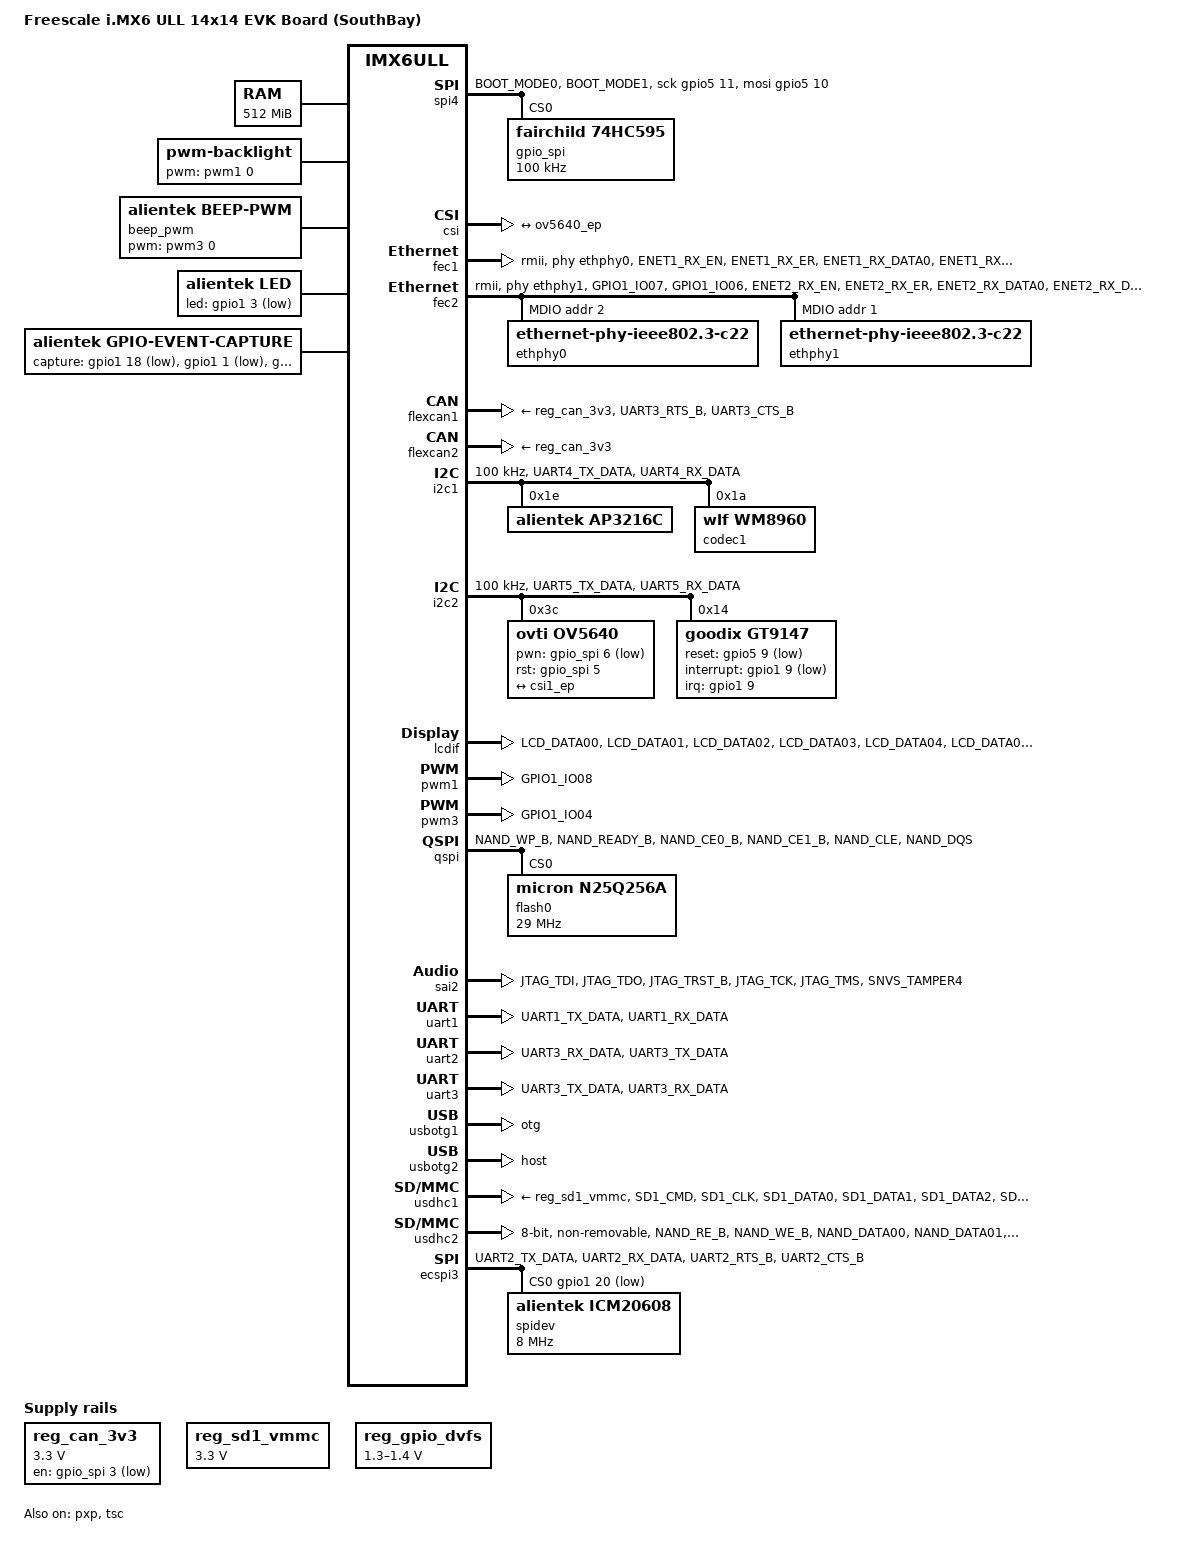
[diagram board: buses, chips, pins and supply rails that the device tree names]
// SPDX-License-Identifier: GPL-2.0
/*
 * imx6ull-southbay-emmc.dts
 *
 * 基于正点原子 alientek-emmc 参考板 DTS 定制。
 * 本文件为本项目（imx6ull-drivers，P1-P6）的唯一设备树，
 * 各阶段驱动节点集中于此：led/beep_pwm/key_event/key_input/gpio_event_capture/ap3216c/icm20608。
 *
 * Build:
 *   make KDIR=<kernel> ARCH=arm CROSS_COMPILE=arm-linux-gnueabihf- imx6ull-southbay-emmc.dtb
 */

/dts-v1/;

#include <dt-bindings/input/input.h>
#include "imx6ull.dtsi"

/ {
	model = "Freescale i.MX6 ULL 14x14 EVK Board (SouthBay)";
	compatible = "fsl,imx6ull-14x14-evk", "fsl,imx6ull";

	chosen {
		stdout-path = &uart1;
	};

	memory {
		reg = <0x80000000 0x20000000>;
	};

	reserved-memory {
		#address-cells = <1>;
		#size-cells = <1>;
		ranges;

		linux,cma {
			compatible = "shared-dma-pool";
			reusable;
			size = <0x14000000>;
			linux,cma-default;
		};
	};

	backlight {
		compatible = "pwm-backlight";
		pwms = <&pwm1 0 5000000>;
		brightness-levels = <0 4 8 16 32 64 128 255>;
		default-brightness-level = <6>;
		status = "okay";
	};

	/* P4-B：PWM 蜂鸣器（外接无源蜂鸣器 → GPIO1_IO04/PWM3_OUT，官方引脚）
	 * period = 1ms = 1kHz，频率由 beep_pwm 驱动 ioctl 动态调整 */
	beep_pwm {
		compatible = "alientek,beep-pwm";
		pwms = <&pwm3 0 1000000>;
		status = "okay";
	};

	pxp_v4l2 {
		compatible = "fsl,imx6ul-pxp-v4l2", "fsl,imx6sx-pxp-v4l2", "fsl,imx6sl-pxp-v4l2";
		status = "okay";
	};

	regulators {
		compatible = "simple-bus";
		#address-cells = <1>;
		#size-cells = <0>;

		reg_can_3v3: regulator@0 {
			compatible = "regulator-fixed";
			reg = <0>;
			regulator-name = "can-3v3";
			regulator-min-microvolt = <3300000>;
			regulator-max-microvolt = <3300000>;
			gpios = <&gpio_spi 3 GPIO_ACTIVE_LOW>;
		};

		reg_sd1_vmmc: regulator@1 {
			compatible = "regulator-fixed";
			regulator-name = "VSD_3V3";
			regulator-min-microvolt = <3300000>;
			regulator-max-microvolt = <3300000>;
			enable-active-high;
		};

		reg_gpio_dvfs: regulator-gpio {
			compatible = "regulator-gpio";
			pinctrl-names = "default";
			pinctrl-0 = <&pinctrl_dvfs>;
			regulator-min-microvolt = <1300000>;
			regulator-max-microvolt = <1400000>;
			regulator-name = "gpio_dvfs";
			regulator-type = "voltage";
			gpios = <&gpio5 3 GPIO_ACTIVE_HIGH>;
			states = <1300000 0x1 1400000 0x0>;
		};
	};

	sound {
		compatible = "fsl,imx6ul-evk-wm8960",
			   "fsl,imx-audio-wm8960";
		model = "wm8960-audio";
		cpu-dai = <&sai2>;
		audio-codec = <&codec1>;
		asrc-controller = <&asrc>;
		codec-master;
		gpr = <&gpr 4 0x100000 0x100000>;
		hp-det = <3 0>;
		audio-routing =
			"Headphone Jack", "HP_L",
			"Headphone Jack", "HP_R",
			"Ext Spk", "SPK_LP",
			"Ext Spk", "SPK_LN",
			"Ext Spk", "SPK_RP",
			"Ext Spk", "SPK_RN",
			"LINPUT2", "Mic Jack",
			"LINPUT3", "Mic Jack",
			"RINPUT1", "Main MIC",
			"RINPUT2", "Main MIC",
			"Mic Jack", "MICB",
			"Main MIC", "MICB",
			"CPU-Playback", "ASRC-Playback",
			"Playback", "CPU-Playback",
			"ASRC-Capture", "CPU-Capture",
			"CPU-Capture", "Capture";
	};

	spi4 {
		compatible = "spi-gpio";
		pinctrl-names = "default";
		pinctrl-0 = <&pinctrl_spi4>;
		status = "okay";
		gpio-sck = <&gpio5 11 0>;
		gpio-mosi = <&gpio5 10 0>;
		num-chipselects = <1>;
		#address-cells = <1>;
		#size-cells = <0>;

		gpio_spi: gpio_spi@0 {
			compatible = "fairchild,74hc595";
			gpio-controller;
			#gpio-cells = <2>;
			reg = <0>;
			registers-number = <1>;
			registers-default = /bits/ 8 <0x57>;
			spi-max-frequency = <100000>;
		};
	};

	/* LED 驱动（P1，手册 5.10）：LED0 红灯 GPIO1_IO03，低电平点亮 */
	led {
		compatible = "alientek,led";
		pinctrl-names = "default";
		pinctrl-0 = <&pinctrl_led>;
		led-gpios = <&gpio1 3 GPIO_ACTIVE_LOW>;	/* LED0 红灯，低电平点亮 */
		status = "okay";
	};

	/* ======== P2 按键事件驱动 ========
	   key-event / key-input / gpio-event-capture 共用 pinctrl_key 与
	   GPIO1_IO18（KEY0），三者互斥（详见各节点注释） */
	key-event {
		compatible = "alientek,key-event";
		pinctrl-names = "default";
		pinctrl-0 = <&pinctrl_key>;
		key-gpios = <&gpio1 18 GPIO_ACTIVE_LOW>;   /* KEY0 */
		status = "disabled";   /* P3: 与 gpio_event_capture 共用 GPIO1_IO18，禁用避免冲突 */
	};

/* ======== P6 input 子系统按键驱动（手册 5.15.1）========
	   与 gpio-event-capture / key-event 共用 GPIO1_IO18（KEY0），
	   三者互斥：运行时只能加载其一（GPIO 已被占用时 probe 失败）。
	   验证 input 时：dts 将本节点改 okay + gpio-event-capture 改 disabled，
	   重编 dtb 后加载 key_input.ko；或运行时先 rmmod gpio_event_capture。
	   key_code=227(KEY_ARMED)，可用 evtest / key_input_test 读取事件流 */
	key-input {
		compatible = "alientek,key-input";
		pinctrl-names = "default";
		pinctrl-0 = <&pinctrl_key>;
		key-gpios = <&gpio1 18 GPIO_ACTIVE_LOW>;   /* KEY0 */
		linux,code = <227>;                        /* KEY_ARMED */
		status = "disabled";   /* P6-2: 与 gpio-event-capture 互斥，板验 8 通道时禁用 */
	};

	/* ======== P3/P6-2 gpio_event 多通道事件采集 ========
	   通道 0 = KEY0（GPIO1_IO18），复用 pinctrl_key；
	   通道 1 = GPIO1_IO01（JP6 pin17 "GPIO_01"），复用 pinctrl_capture1；
	   通道 2 = GPIO1_IO00（JP6 GPIO_00），复用 pinctrl_capture0；
	   通道 3 = GPIO1_IO02（JP6 GPIO_02），复用 pinctrl_capture2；
	   ★按需采集原则：仅配置无冲突通道（IO18/IO01/IO00/IO02），
	   触摸屏(gt9147)/LED/PWM 等外设功能全部保留（其引脚不再用作采集通道）。
	   PulseView 仍显示 8 通道，未配置通道（4-7）为恒低平线。
	   与 key-input / key-event 互斥：共用 GPIO1_IO18，dts 仅允许其一为 okay。 */
	gpio-event-capture {
		compatible = "alientek,gpio-event-capture";
		pinctrl-names = "default";
		pinctrl-0 = <&pinctrl_key &pinctrl_capture1
			     &pinctrl_capture0 &pinctrl_capture2>;
		capture-gpios = <&gpio1 18 GPIO_ACTIVE_LOW>,   /* 通道0：KEY0 */
				<&gpio1  1 GPIO_ACTIVE_LOW>,  /* 通道1：GPIO1_IO01 (JP6 pin17) */
				<&gpio1  0 GPIO_ACTIVE_LOW>,  /* 通道2：GPIO1_IO00 (JP6 GPIO_00) */
				<&gpio1  2 GPIO_ACTIVE_LOW>;  /* 通道3：GPIO1_IO02 (JP6 GPIO_02) */
		fifo-depth-events = <1024>;                    /* 2 的幂校验 */
		status = "okay";
	};
};

&cpu0 {
	arm-supply = <&reg_arm>;
	soc-supply = <&reg_soc>;
	dc-supply = <&reg_gpio_dvfs>;
};

&clks {
	assigned-clocks = <&clks IMX6UL_CLK_PLL4_AUDIO_DIV>;
	assigned-clock-rates = <786432000>;
};

&csi {
	status = "okay";

	port {
		csi1_ep: endpoint {
			remote-endpoint = <&ov5640_ep>;
		};
	};
};

&fec1 {
	pinctrl-names = "default";
	pinctrl-0 = <&pinctrl_enet1
		     &pinctrl_enet1_reset>;
	phy-mode = "rmii";
	phy-handle = <&ethphy0>;
	phy-reset-gpios = <&gpio5 7 GPIO_ACTIVE_LOW>;
	phy-reset-duration = <200>;
	status = "okay";
};

&fec2 {
	pinctrl-names = "default";
	pinctrl-0 = <&pinctrl_enet2>;
	phy-mode = "rmii";
	phy-handle = <&ethphy1>;
	status = "okay";

	mdio {
		#address-cells = <1>;
		#size-cells = <0>;

		ethphy0: ethernet-phy@2 {
			compatible = "ethernet-phy-ieee802.3-c22";
			reg = <2>;
		};

		ethphy1: ethernet-phy@1 {
			compatible = "ethernet-phy-ieee802.3-c22";
			reg = <1>;
		};
	};
};

&flexcan1 {
	pinctrl-names = "default";
	pinctrl-0 = <&pinctrl_flexcan1>;
	xceiver-supply = <&reg_can_3v3>;
	status = "okay";
};

&flexcan2 {
	pinctrl-names = "default";
	pinctrl-0 = <&pinctrl_flexcan2>;
	xceiver-supply = <&reg_can_3v3>;
	status = "okay";
};

&gpc {
	fsl,cpu_pupscr_sw2iso = <0x1>;
	fsl,cpu_pupscr_sw = <0x0>;
	fsl,cpu_pdnscr_iso2sw = <0x1>;
	fsl,cpu_pdnscr_iso = <0x1>;
	fsl,ldo-bypass = <0>;
};

&i2c1 {
	clock-frequency = <100000>;
	pinctrl-names = "default";
	pinctrl-0 = <&pinctrl_i2c1>;
	status = "okay";

	/* AP3216C proximity & ambient light sensor */
	ap3216c@1e {
		compatible = "alientek,ap3216c";
		reg = <0x1e>;
	};

	codec1: wm8960@1a {
		compatible = "wlf,wm8960";
		reg = <0x1a>;
		clocks = <&clks IMX6UL_CLK_SAI2>;
		clock-names = "mclk";
		wlf,shared-lrclk;
	};
};

&i2c2 {
	clock-frequency = <100000>;
	pinctrl-names = "default";
	pinctrl-0 = <&pinctrl_i2c2>;
	status = "okay";

	ov5640: ov5640@3c {
		compatible = "ovti,ov5640";
		reg = <0x3c>;
		pinctrl-names = "default";
		pinctrl-0 = <&pinctrl_csi1>;
		clocks = <&clks IMX6UL_CLK_CSI>;
		clock-names = "csi_mclk";
		pwn-gpios = <&gpio_spi 6 1>;
		rst-gpios = <&gpio_spi 5 0>;
		csi_id = <0>;
		mclk = <24000000>;
		mclk_source = <0>;
		status = "okay";
		port {
			ov5640_ep: endpoint {
				remote-endpoint = <&csi1_ep>;
			};
		};
	};

	/* 触摸屏 GT911/GT9147（教程 64.8 规范节点，配套 23_multitouch/gt9147.c；
	 * 地址 0x14、引脚/属性/时序全部对齐教程；分辨率 1024x600 由驱动
	 * 内嵌官方配置下发——本板芯片出厂配置区为空） */
	gt9147: gt9147@14 {
		compatible = "goodix,gt9147", "goodix,gt9xx";
		reg = <0x14>;
		pinctrl-names = "default";
		pinctrl-0 = <&pinctrl_tsc
			     &pinctrl_tsc_reset>;
		interrupt-parent = <&gpio1>;
		interrupts = <9 0>;
		reset-gpios = <&gpio5 9 GPIO_ACTIVE_LOW>;
		interrupt-gpios = <&gpio1 9 GPIO_ACTIVE_LOW>;
		status = "okay";
	};
};

&iomuxc {
	pinctrl-names = "default";
	pinctrl-0 = <&pinctrl_hog_1>;
	imx6ul-evk {
		pinctrl_hog_1: hoggrp-1 {
			fsl,pins = <
				MX6UL_PAD_UART1_RTS_B__GPIO1_IO19	0x17059
				MX6UL_PAD_GPIO1_IO05__USDHC1_VSELECT	0x17059
			>;
		};

		pinctrl_csi1: csi1grp {
			fsl,pins = <
				MX6UL_PAD_CSI_MCLK__CSI_MCLK		0x1b088
				MX6UL_PAD_CSI_PIXCLK__CSI_PIXCLK	0x1b088
				MX6UL_PAD_CSI_VSYNC__CSI_VSYNC		0x1b088
				MX6UL_PAD_CSI_HSYNC__CSI_HSYNC		0x1b088
				MX6UL_PAD_CSI_DATA00__CSI_DATA02	0x1b088
				MX6UL_PAD_CSI_DATA01__CSI_DATA03	0x1b088
				MX6UL_PAD_CSI_DATA02__CSI_DATA04	0x1b088
				MX6UL_PAD_CSI_DATA03__CSI_DATA05	0x1b088
				MX6UL_PAD_CSI_DATA04__CSI_DATA06	0x1b088
				MX6UL_PAD_CSI_DATA05__CSI_DATA07	0x1b088
				MX6UL_PAD_CSI_DATA06__CSI_DATA08	0x1b088
				MX6UL_PAD_CSI_DATA07__CSI_DATA09	0x1b088
			>;
		};

		pinctrl_enet1: enet1grp {
			fsl,pins = <
				MX6UL_PAD_ENET1_RX_EN__ENET1_RX_EN	0x1b0b0
				MX6UL_PAD_ENET1_RX_ER__ENET1_RX_ER	0x1b0b0
				MX6UL_PAD_ENET1_RX_DATA0__ENET1_RDATA00	0x1b0b0
				MX6UL_PAD_ENET1_RX_DATA1__ENET1_RDATA01	0x1b0b0
				MX6UL_PAD_ENET1_TX_EN__ENET1_TX_EN	0x1b0b0
				MX6UL_PAD_ENET1_TX_DATA0__ENET1_TDATA00	0x1b0b0
				MX6UL_PAD_ENET1_TX_DATA1__ENET1_TDATA01	0x1b0b0
				MX6UL_PAD_ENET1_TX_CLK__ENET1_REF_CLK1	0x4001b031
				MX6UL_PAD_SNVS_TAMPER7__GPIO5_IO07	0x10B0
			>;
		};

		pinctrl_enet2: enet2grp {
			fsl,pins = <
				MX6UL_PAD_GPIO1_IO07__ENET2_MDC		0x1b0b0
				MX6UL_PAD_GPIO1_IO06__ENET2_MDIO	0x1b0b0
				MX6UL_PAD_ENET2_RX_EN__ENET2_RX_EN	0x1b0b0
				MX6UL_PAD_ENET2_RX_ER__ENET2_RX_ER	0x1b0b0
				MX6UL_PAD_ENET2_RX_DATA0__ENET2_RDATA00	0x1b0b0
				MX6UL_PAD_ENET2_RX_DATA1__ENET2_RDATA01	0x1b0b0
				MX6UL_PAD_ENET2_TX_EN__ENET2_TX_EN	0x1b0b0
				MX6UL_PAD_ENET2_TX_DATA0__ENET2_TDATA00	0x1b0b0
				MX6UL_PAD_ENET2_TX_DATA1__ENET2_TDATA01	0x1b0b0
				MX6UL_PAD_ENET2_TX_CLK__ENET2_REF_CLK2	0x4001b031
				MX6UL_PAD_SNVS_TAMPER8__GPIO5_IO08	0x10B0
			>;
		};

		pinctrl_flexcan1: flexcan1grp {
			fsl,pins = <
				MX6UL_PAD_UART3_RTS_B__FLEXCAN1_RX	0x1b020
				MX6UL_PAD_UART3_CTS_B__FLEXCAN1_TX	0x1b020
			>;
		};

		pinctrl_flexcan2: flexcan2grp {
			fsl,pins = <
			>;
		};

		pinctrl_i2c1: i2c1grp {
			fsl,pins = <
				MX6UL_PAD_UART4_TX_DATA__I2C1_SCL 0x4001b8b0
				MX6UL_PAD_UART4_RX_DATA__I2C1_SDA 0x4001b8b0
			>;
		};

		pinctrl_i2c2: i2c2grp {
			fsl,pins = <
				MX6UL_PAD_UART5_TX_DATA__I2C2_SCL 0x4001b8b0
				MX6UL_PAD_UART5_RX_DATA__I2C2_SDA 0x4001b8b0
			>;
		};

		pinctrl_lcdif_dat: lcdifdatgrp {
			fsl,pins = <
				MX6UL_PAD_LCD_DATA00__LCDIF_DATA00  0x49
				MX6UL_PAD_LCD_DATA01__LCDIF_DATA01  0x49
				MX6UL_PAD_LCD_DATA02__LCDIF_DATA02  0x49
				MX6UL_PAD_LCD_DATA03__LCDIF_DATA03  0x49
				MX6UL_PAD_LCD_DATA04__LCDIF_DATA04  0x49
				MX6UL_PAD_LCD_DATA05__LCDIF_DATA05  0x49
				MX6UL_PAD_LCD_DATA06__LCDIF_DATA06  0x49
				MX6UL_PAD_LCD_DATA07__LCDIF_DATA07  0x49
				MX6UL_PAD_LCD_DATA08__LCDIF_DATA08  0x49
				MX6UL_PAD_LCD_DATA09__LCDIF_DATA09  0x49
				MX6UL_PAD_LCD_DATA10__LCDIF_DATA10  0x49
				MX6UL_PAD_LCD_DATA11__LCDIF_DATA11  0x49
				MX6UL_PAD_LCD_DATA12__LCDIF_DATA12  0x49
				MX6UL_PAD_LCD_DATA13__LCDIF_DATA13  0x49
				MX6UL_PAD_LCD_DATA14__LCDIF_DATA14  0x49
				MX6UL_PAD_LCD_DATA15__LCDIF_DATA15  0x49
				MX6UL_PAD_LCD_DATA16__LCDIF_DATA16  0x49
				MX6UL_PAD_LCD_DATA17__LCDIF_DATA17  0x49
				MX6UL_PAD_LCD_DATA18__LCDIF_DATA18  0x49
				MX6UL_PAD_LCD_DATA19__LCDIF_DATA19  0x49
				MX6UL_PAD_LCD_DATA20__LCDIF_DATA20  0x49
				MX6UL_PAD_LCD_DATA21__LCDIF_DATA21  0x49
				MX6UL_PAD_LCD_DATA22__LCDIF_DATA22  0x49
				MX6UL_PAD_LCD_DATA23__LCDIF_DATA23  0x49
			>;
		};

		pinctrl_lcdif_ctrl: lcdifctrlgrp {
			fsl,pins = <
				MX6UL_PAD_LCD_CLK__LCDIF_CLK	    0x49
				MX6UL_PAD_LCD_ENABLE__LCDIF_ENABLE  0x49
				MX6UL_PAD_LCD_HSYNC__LCDIF_HSYNC    0x49
				MX6UL_PAD_LCD_VSYNC__LCDIF_VSYNC    0x49
			>;
		};

		pinctrl_pwm1: pwm1grp {
			fsl,pins = <
				MX6UL_PAD_GPIO1_IO08__PWM1_OUT   0x110b0
			>;
		};

		/* P4-B：PWM3（GPIO1_IO04）驱动外接无源蜂鸣器
		 * ★PWM3 官方引脚 = GPIO1_IO04：NXP SDK evkmcimx6ull/driver_examples/pwm/pin_mux.c
		 *   确认（pin M16, peripheral PWM3, pin_signal GPIO1_IO04），与 6UL pinfunc 宏
		 *   MX6UL_PAD_GPIO1_IO04__PWM3_OUT（mux=0x006C, conf=0x02F8, ALT1）一致。
		 * ★曾误推断 GPIO1_IO10=PWM3_OUT（BSP 缺定义按 IO08 布局推算）——实际 GPIO1_IO10
		 *   非 PWM 引脚，PWM 信号未输出到接线引脚，致 LED 常亮/蜂鸣器不响；已按官方修正。 */
		pinctrl_pwm3: pwm3grp {
			fsl,pins = <
				MX6UL_PAD_GPIO1_IO04__PWM3_OUT   0x110b0
			>;
		};

		pinctrl_qspi: qspigrp {
			fsl,pins = <
				MX6UL_PAD_NAND_WP_B__QSPI_A_SCLK      0x70a1
				MX6UL_PAD_NAND_READY_B__QSPI_A_DATA00 0x70a1
				MX6UL_PAD_NAND_CE0_B__QSPI_A_DATA01   0x70a1
				MX6UL_PAD_NAND_CE1_B__QSPI_A_DATA02   0x70a1
				MX6UL_PAD_NAND_CLE__QSPI_A_DATA03     0x70a1
				MX6UL_PAD_NAND_DQS__QSPI_A_SS0_B      0x70a1
			>;
		};

		pinctrl_sai2: sai2grp {
			fsl,pins = <
				MX6UL_PAD_JTAG_TDI__SAI2_TX_BCLK	0x17088
				MX6UL_PAD_JTAG_TDO__SAI2_TX_SYNC	0x17088
				MX6UL_PAD_JTAG_TRST_B__SAI2_TX_DATA	0x11088
				MX6UL_PAD_JTAG_TCK__SAI2_RX_DATA	0x11088
				MX6UL_PAD_JTAG_TMS__SAI2_MCLK		0x17088
			>;
		};

		pinctrl_tsc: tscgrp {
			fsl,pins = <
				MX6UL_PAD_GPIO1_IO09__GPIO1_IO09	0x79
			>;
		};

		pinctrl_uart1: uart1grp {
			fsl,pins = <
				MX6UL_PAD_UART1_TX_DATA__UART1_DCE_TX 0x1b0b1
				MX6UL_PAD_UART1_RX_DATA__UART1_DCE_RX 0x1b0b1
			>;
		};

		pinctrl_uart2: uart2grp {
			fsl,pins = <
				MX6UL_PAD_UART3_RX_DATA__UART2_DCE_RTS	0x1b0b1
				MX6UL_PAD_UART3_TX_DATA__UART2_DCE_CTS	0x1b0b1
			>;
		};

		pinctrl_uart2dte: uart2dtegrp {
			fsl,pins = <
				MX6UL_PAD_UART3_RX_DATA__UART2_DTE_CTS	0x1b0b1
				MX6UL_PAD_UART3_TX_DATA__UART2_DTE_RTS	0x1b0b1
			>;
		};

		pinctrl_usdhc1: usdhc1grp {
			fsl,pins = <
				MX6UL_PAD_SD1_CMD__USDHC1_CMD     0x17059
				MX6UL_PAD_SD1_CLK__USDHC1_CLK     0x10071
				MX6UL_PAD_SD1_DATA0__USDHC1_DATA0 0x17059
				MX6UL_PAD_SD1_DATA1__USDHC1_DATA1 0x17059
				MX6UL_PAD_SD1_DATA2__USDHC1_DATA2 0x17059
				MX6UL_PAD_SD1_DATA3__USDHC1_DATA3 0x17059
			>;
		};

		pinctrl_usdhc1_100mhz: usdhc1grp100mhz {
			fsl,pins = <
				MX6UL_PAD_SD1_CMD__USDHC1_CMD     0x170b9
				MX6UL_PAD_SD1_CLK__USDHC1_CLK     0x100b9
				MX6UL_PAD_SD1_DATA0__USDHC1_DATA0 0x170b9
				MX6UL_PAD_SD1_DATA1__USDHC1_DATA1 0x170b9
				MX6UL_PAD_SD1_DATA2__USDHC1_DATA2 0x170b9
				MX6UL_PAD_SD1_DATA3__USDHC1_DATA3 0x170b9
			>;
		};

		pinctrl_usdhc1_200mhz: usdhc1grp200mhz {
			fsl,pins = <
				MX6UL_PAD_SD1_CMD__USDHC1_CMD     0x170f9
				MX6UL_PAD_SD1_CLK__USDHC1_CLK     0x100f9
				MX6UL_PAD_SD1_DATA0__USDHC1_DATA0 0x170f9
				MX6UL_PAD_SD1_DATA1__USDHC1_DATA1 0x170f9
				MX6UL_PAD_SD1_DATA2__USDHC1_DATA2 0x170f9
				MX6UL_PAD_SD1_DATA3__USDHC1_DATA3 0x170f9
			>;
		};

		pinctrl_usdhc2: usdhc2grp {
			fsl,pins = <
				MX6UL_PAD_NAND_RE_B__USDHC2_CLK     0x10069
				MX6UL_PAD_NAND_WE_B__USDHC2_CMD     0x17059
				MX6UL_PAD_NAND_DATA00__USDHC2_DATA0 0x17059
				MX6UL_PAD_NAND_DATA01__USDHC2_DATA1 0x17059
				MX6UL_PAD_NAND_DATA02__USDHC2_DATA2 0x17059
				MX6UL_PAD_NAND_DATA03__USDHC2_DATA3 0x17059
			>;
		};

		pinctrl_usdhc2_8bit: usdhc2grp_8bit {
			fsl,pins = <
				MX6UL_PAD_NAND_RE_B__USDHC2_CLK     0x10069
				MX6UL_PAD_NAND_WE_B__USDHC2_CMD     0x17059
				MX6UL_PAD_NAND_DATA00__USDHC2_DATA0 0x17059
				MX6UL_PAD_NAND_DATA01__USDHC2_DATA1 0x17059
				MX6UL_PAD_NAND_DATA02__USDHC2_DATA2 0x17059
				MX6UL_PAD_NAND_DATA03__USDHC2_DATA3 0x17059
				MX6UL_PAD_NAND_DATA04__USDHC2_DATA4 0x17059
				MX6UL_PAD_NAND_DATA05__USDHC2_DATA5 0x17059
				MX6UL_PAD_NAND_DATA06__USDHC2_DATA6 0x17059
				MX6UL_PAD_NAND_DATA07__USDHC2_DATA7 0x17059
			>;
		};

		pinctrl_usdhc2_8bit_100mhz: usdhc2grp_8bit_100mhz {
			fsl,pins = <
				MX6UL_PAD_NAND_RE_B__USDHC2_CLK     0x100b9
				MX6UL_PAD_NAND_WE_B__USDHC2_CMD     0x170b9
				MX6UL_PAD_NAND_DATA00__USDHC2_DATA0 0x170b9
				MX6UL_PAD_NAND_DATA01__USDHC2_DATA1 0x170b9
				MX6UL_PAD_NAND_DATA02__USDHC2_DATA2 0x170b9
				MX6UL_PAD_NAND_DATA03__USDHC2_DATA3 0x170b9
				MX6UL_PAD_NAND_DATA04__USDHC2_DATA4 0x170b9
				MX6UL_PAD_NAND_DATA05__USDHC2_DATA5 0x170b9
				MX6UL_PAD_NAND_DATA06__USDHC2_DATA6 0x170b9
				MX6UL_PAD_NAND_DATA07__USDHC2_DATA7 0x170b9
			>;
		};

		pinctrl_usdhc2_8bit_200mhz: usdhc2grp_8bit_200mhz {
			fsl,pins = <
				MX6UL_PAD_NAND_RE_B__USDHC2_CLK     0x100f9
				MX6UL_PAD_NAND_WE_B__USDHC2_CMD     0x170f9
				MX6UL_PAD_NAND_DATA00__USDHC2_DATA0 0x170f9
				MX6UL_PAD_NAND_DATA01__USDHC2_DATA1 0x170f9
				MX6UL_PAD_NAND_DATA02__USDHC2_DATA2 0x170f9
				MX6UL_PAD_NAND_DATA03__USDHC2_DATA3 0x170f9
				MX6UL_PAD_NAND_DATA04__USDHC2_DATA4 0x170f9
				MX6UL_PAD_NAND_DATA05__USDHC2_DATA5 0x170f9
				MX6UL_PAD_NAND_DATA06__USDHC2_DATA6 0x170f9
				MX6UL_PAD_NAND_DATA07__USDHC2_DATA7 0x170f9
			>;
		};

		pinctrl_wdog: wdoggrp {
			fsl,pins = <
				MX6UL_PAD_LCD_RESET__WDOG1_WDOG_ANY    0x30b0
			>;
		};

		pinctrl_led: ledgrp {
			fsl,pins = <
				MX6UL_PAD_GPIO1_IO03__GPIO1_IO03	0x10B0	/* LED0 红灯 */
			>;
		};

		pinctrl_key: keygrp {
			fsl,pins = <
				MX6UL_PAD_UART1_CTS_B__GPIO1_IO18	0xF080
			>;
		};

		/* P3-2 通道1：GPIO1_IO01（JP6 pin17 "GPIO_01"）*/
		pinctrl_capture1: capture1grp {
			fsl,pins = <
				MX6UL_PAD_GPIO1_IO01__GPIO1_IO01	0x10B0
			>;
		};

		/* P6-2 通道2-3：JP6 排针 GPIO_00/02（均属 GPIO1 控制器，支持边沿中断；
   P3-2 已确认 GPIO_0~9 均为 GPIO1 组）。按需采集原则：仅配置无冲突引脚，
   触摸屏/LED/PWM 等外设引脚（IO03/04/08/09）不再用作采集通道 */
		pinctrl_capture0: capture0grp {
			fsl,pins = <
				MX6UL_PAD_GPIO1_IO00__GPIO1_IO00	0x10B0
			>;
		};

		pinctrl_capture2: capture2grp {
			fsl,pins = <
				MX6UL_PAD_GPIO1_IO02__GPIO1_IO02	0x10B0
			>;
		};

		pinctrl_ecspi3: icm20608 {
			fsl,pins = <
				MX6UL_PAD_UART2_TX_DATA__GPIO1_IO20	0x10b0
				MX6UL_PAD_UART2_RX_DATA__ECSPI3_SCLK	0x10b1
				MX6UL_PAD_UART2_RTS_B__ECSPI3_MISO	0x10b1
				MX6UL_PAD_UART2_CTS_B__ECSPI3_MOSI	0x10b1
			>;
		};

		pinctrl_uart3: uart3grp {
			fsl,pins = <
				MX6UL_PAD_UART3_TX_DATA__UART3_DCE_TX 0x1b0b1
				MX6UL_PAD_UART3_RX_DATA__UART3_DCE_RX 0x1b0b1
			>;
		};
	};
};

&iomuxc_snvs {
	pinctrl-names = "default_snvs";
	pinctrl-0 = <&pinctrl_hog_2>;
	imx6ul-evk {
		pinctrl_hog_2: hoggrp-2 {
			fsl,pins = <
				MX6ULL_PAD_SNVS_TAMPER0__GPIO5_IO00	0x80000000
			>;
		};

		pinctrl_dvfs: dvfsgrp {
			fsl,pins = <
				MX6ULL_PAD_SNVS_TAMPER3__GPIO5_IO03	0x79
			>;
		};

		pinctrl_lcdif_reset: lcdifresetgrp {
			fsl,pins = <
			>;
		};

		pinctrl_spi4: spi4grp {
			fsl,pins = <
				MX6ULL_PAD_BOOT_MODE0__GPIO5_IO10	0x70a1
				MX6ULL_PAD_BOOT_MODE1__GPIO5_IO11	0x70a1
			>;
		};

		pinctrl_sai2_hp_det_b: sai2_hp_det_grp {
			fsl,pins = <
				MX6ULL_PAD_SNVS_TAMPER4__GPIO5_IO04	0x17059
			>;
		};

		pinctrl_enet1_reset: enet1resetgrp {
			fsl,pins = <
				MX6ULL_PAD_SNVS_TAMPER7__GPIO5_IO07	0x10B0
			>;
		};

		pinctrl_enet2_reset: enet2resetgrp {
			fsl,pins = <
				MX6ULL_PAD_SNVS_TAMPER8__GPIO5_IO08	0x10B0
			>;
		};

		pinctrl_tsc_reset: tsc_reset {
			fsl,pins = <
				MX6ULL_PAD_SNVS_TAMPER9__GPIO5_IO09	0x10B0
			>;
		};

	};
};

&lcdif {
	pinctrl-names = "default";
	pinctrl-0 = <&pinctrl_lcdif_dat
		     &pinctrl_lcdif_ctrl>;
	display = <&display0>;
	status = "okay";

	display0: display {
		bits-per-pixel = <24>;
		bus-width = <24>;

		display-timings {
			native-mode = <&timing0>;
			timing0: timing0 {
				clock-frequency = <51200000>;
				hactive = <1024>;
				vactive = <600>;
				hfront-porch = <160>;
				hback-porch = <140>;
				hsync-len = <20>;
				vback-porch = <20>;
				vfront-porch = <12>;
				vsync-len = <3>;
				hsync-active = <0>;
				vsync-active = <0>;
				de-active = <1>;
				pixelclk-active = <0>;
			};
		};
	};
};

&pwm1 {
	pinctrl-names = "default";
	pinctrl-0 = <&pinctrl_pwm1>;
	status = "okay";
};

/* P4-B：PWM3 供 beep_pwm 驱动使用 */
&pwm3 {
	pinctrl-names = "default";
	pinctrl-0 = <&pinctrl_pwm3>;
	status = "okay";
};

&pxp {
	status = "okay";
};

&qspi {
	pinctrl-names = "default";
	pinctrl-0 = <&pinctrl_qspi>;
	status = "okay";
	ddrsmp = <0>;

	flash0: n25q256a@0 {
		#address-cells = <1>;
		#size-cells = <1>;
		compatible = "micron,n25q256a";
		spi-max-frequency = <29000000>;
		spi-nor,ddr-quad-read-dummy = <6>;
		reg = <0>;
	};
};

&sai2 {
	pinctrl-names = "default";
	pinctrl-0 = <&pinctrl_sai2
		     &pinctrl_sai2_hp_det_b>;
	assigned-clocks = <&clks IMX6UL_CLK_SAI2_SEL>,
			  <&clks IMX6UL_CLK_SAI2>;
	assigned-clock-parents = <&clks IMX6UL_CLK_PLL4_AUDIO_DIV>;
	assigned-clock-rates = <0>, <12288000>;
	status = "okay";
};

&tsc {
	pinctrl-names = "default";
	pinctrl-0 = <&pinctrl_tsc>;
	measure-delay-time = <0xffff>;
	pre-charge-time = <0xfff>;
	status = "okay";
};

&uart1 {
	pinctrl-names = "default";
	pinctrl-0 = <&pinctrl_uart1>;
	status = "okay";
};

&uart2 {
	pinctrl-names = "default";
	pinctrl-0 = <&pinctrl_uart2>;
	status = "okay";
};

&uart3 {
	pinctrl-names = "default";
	pinctrl-0 = <&pinctrl_uart3>;
	status = "okay";
};

&usbotg1 {
	dr_mode = "otg";
	srp-disable;
	hnp-disable;
	adp-disable;
	status = "okay";
};

&usbotg2 {
	dr_mode = "host";
	disable-over-current;
	status = "okay";
};

&usbphy1 {
	tx-d-cal = <0x5>;
};

&usbphy2 {
	tx-d-cal = <0x5>;
};

&usdhc1 {
	pinctrl-names = "default", "state_100mhz", "state_200mhz";
	pinctrl-0 = <&pinctrl_usdhc1>;
	pinctrl-1 = <&pinctrl_usdhc1_100mhz>;
	pinctrl-2 = <&pinctrl_usdhc1_200mhz>;
	cd-gpios = <&gpio1 19 GPIO_ACTIVE_LOW>;
	keep-power-in-suspend;
	enable-sdio-wakeup;
	vmmc-supply = <&reg_sd1_vmmc>;
	status = "okay";
};

&usdhc2 {
	pinctrl-names = "default", "state_100mhz", "state_200mhz";
	pinctrl-0 = <&pinctrl_usdhc2_8bit>;
	pinctrl-1 = <&pinctrl_usdhc2_8bit_100mhz>;
	pinctrl-2 = <&pinctrl_usdhc2_8bit_200mhz>;
	bus-width = <8>;
	non-removable;
	no-1-8-v;
	status = "okay";
};

&wdog1 {
	pinctrl-names = "default";
	pinctrl-0 = <&pinctrl_wdog>;
	fsl,wdog_b;
};

&ecspi3 {
	fsl,spi-num-chipselects = <1>;
	cs-gpios = <&gpio1 20 GPIO_ACTIVE_LOW>;
	pinctrl-names = "default";
	pinctrl-0 = <&pinctrl_ecspi3>;
	status = "okay";

	spidev: icm20608@0 {
		compatible = "alientek,icm20608";
		spi-max-frequency = <8000000>;
		reg = <0>;
	};
};
